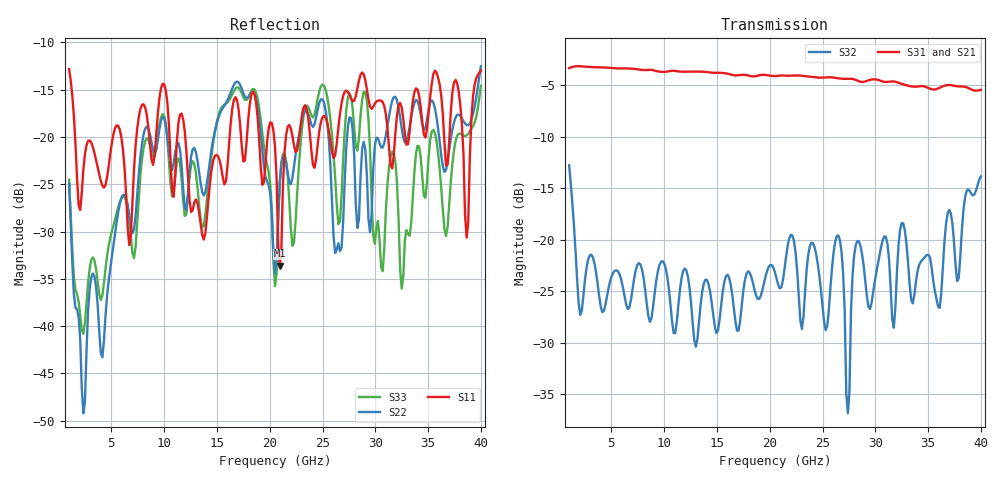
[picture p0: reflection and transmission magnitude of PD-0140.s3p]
! MARKI MICROWAVE INC.
! Email:  info@markimicrowave.com  Phone:  408-778-4200
! Model Number:  PD0140  Date:  07/11
! Filename:		PD-0140.S3P  Version: 1.0
! Description:  3-port S-parameter data for Power Divider PD0165
! Frequency Range: 	1 GHz to 40 GHz
! Port Configuration:	PORT 1: COMMON, PORT 2 and Port 3: Output
! S3P File: Measurements: Mag<S11> Ang<S11> Mag<S12> Ang<S12> Mag<S13> Ang<S13>! row 1
!  Mag<S21> Ang<S21> Mag<S22> Ang<S22> Mag<S23> Ang<S23>! row 2
!  Mag<S31> Ang<S31> Mag<S32> Ang<S32> Mag<S33> Ang<S33>! row 3
# GHz S DB R 50
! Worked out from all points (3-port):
!   261 points, 1 GHz to 40 GHz, reference 50 ohm
!   strongest paths, dB at 1 GHz, 10.75 GHz, 20.5 GHz, 30.25 GHz, 40 GHz:
!     S31: -3.3, -3.6, -4.1, -4.5, -5.4
!     S21: -3.3, -3.6, -4.1, -4.6, -5.5
!     S32: -12.8, -28.0, -23.2, -22.3, -13.9
!   lowest |S11| = -33.6 dB at 20.95 GHz (marker M1), VSWR 1.04, Z = 50.8 + j1.94 ohm
!   |S11| at or under -10 dB: start of sweep to end of sweep
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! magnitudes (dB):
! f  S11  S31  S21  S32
! 1 GHz  -12.8  -3.3  -3.3  -12.8
! 2.35 GHz  -23.5  -3.2  -3.2  -25.5
! 8.35 GHz  -17.6  -3.5  -3.5  -26.2
! 18.55 GHz  -15.4  -4.1  -4.1  -24.8
! 20.5 GHz  -21.0  -4.1  -4.1  -23.2
! 20.95 GHz  -33.6  -4.1  -4.1  -24.7
! 29.05 GHz  -14.0  -4.6  -4.7  -24.0
! 32.5 GHz  -16.9  -4.9  -5.0  -18.4
! 38.65 GHz  -30.6  -5.2  -5.4  -15.3
! 40 GHz  -13.0  -5.4  -5.5  -13.9
